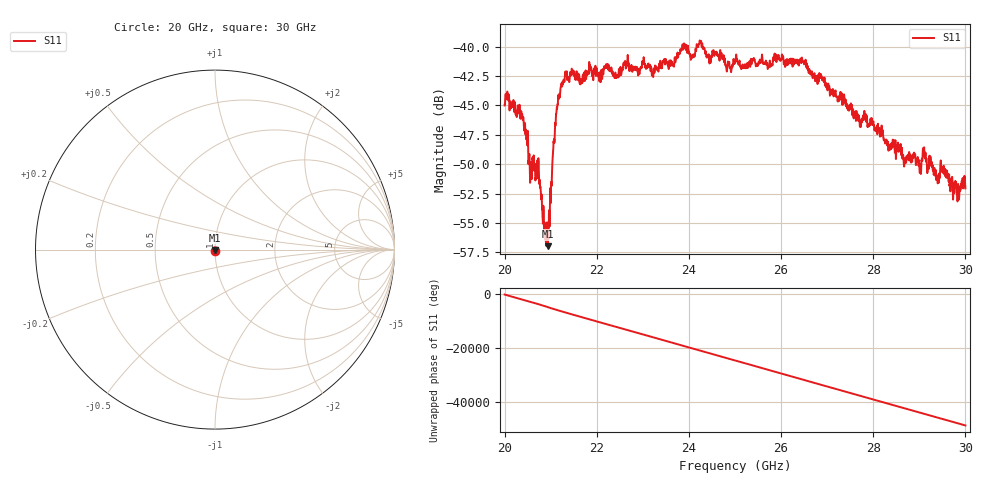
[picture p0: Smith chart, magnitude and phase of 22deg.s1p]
#  HZ  S  RI  R  50.00
! Rohde & Schwarz ZVA40 4Ports - Version 3.90 - 1145.1110k42 SN: 100403
! Date: 2023-10-03 11:42:43
! Measurement: S12
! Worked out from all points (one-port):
!   5001 points, 20 GHz to 30 GHz, reference 50 ohm
!   lowest |S11| = -57.0 dB at 20.94 GHz (marker M1), VSWR 1.00, Z = 50 - j0.142 ohm
!   |S11| at or under -10 dB: start of sweep to end of sweep
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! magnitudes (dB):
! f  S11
! 20 GHz  -45.0
! 20.36 GHz  -45.5
! 20.56 GHz  -50.2
! 20.74 GHz  -50.4
! 20.86 GHz  -55.6
! 20.94 GHz  -57.0
! 21.11 GHz  -46.1
! 21.25 GHz  -43.3
! 21.47 GHz  -42.3
! 22.5 GHz  -42.0
! 22.63 GHz  -41.9
! 23.23 GHz  -41.9
! 23.75 GHz  -40.5
! 23.9 GHz  -39.9
! 24.08 GHz  -40.8
! 24.24 GHz  -39.6
! 24.43 GHz  -40.7
! 25 GHz  -41.3
! 26.25 GHz  -41.7
! 26.49 GHz  -41.3
! 27.5 GHz  -45.1
! 28.75 GHz  -49.2
! 29.02 GHz  -50.1
! 29.11 GHz  -48.9
! 29.38 GHz  -51.0
! 29.51 GHz  -50.6
! 29.85 GHz  -52.2
! 30 GHz  -52.1
